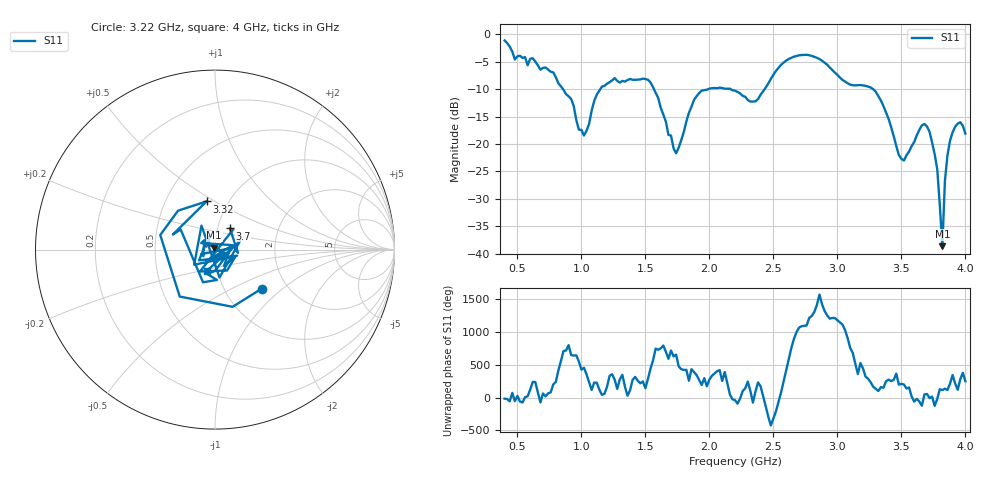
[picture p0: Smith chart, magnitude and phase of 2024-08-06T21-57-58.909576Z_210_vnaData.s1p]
!Created with skrf (http://scikit-rf.org).
# Hz S RI R 50.0
!freq ReS11 ImS11
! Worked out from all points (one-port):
!   181 points, 400 MHz to 4 GHz, reference 50 ohm
!   lowest |S11| = -38.6 dB at 3.82 GHz (marker M1), VSWR 1.02, Z = 49.5 + j1.06 ohm
!   |S11| at or under -10 dB: 856.2 MHz to 1.147 GHz (291.1 MHz wide, 29.1 % of centre); 1.567 GHz to 1.991 GHz (423.8 MHz wide, 23.8 % of centre); 3.279 GHz to end of sweep (the widest 3 of 4)
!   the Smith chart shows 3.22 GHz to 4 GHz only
!   S11 on the Smith chart (normalised r, x): 3.22 GHz: 1.49, -0.73; 3.32 GHz: 0.79, +0.46; 3.7 GHz: 1.15, +0.28; 4 GHz: 0.89, -0.21
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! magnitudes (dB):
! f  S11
! 400 MHz  -1.1
! 480 MHz  -4.6
! 620 MHz  -4.4
! 860 MHz  -10.1
! 1.02 GHz  -18.5
! 1.16 GHz  -9.5
! 1.3 GHz  -8.8
! 1.54 GHz  -8.8
! 1.72 GHz  -20.8
! 1.76 GHz  -20.7
! 1.92 GHz  -10.7
! 2.2 GHz  -10.3
! 2.36 GHz  -12.2
! 2.66 GHz  -4.1
! 2.86 GHz  -4.5
! 3.1 GHz  -9.2
! 3.22 GHz  -9.4
! 3.32 GHz  -11.3
! 3.48 GHz  -22.0
! 3.56 GHz  -21.4
! 3.66 GHz  -16.6
! 3.7 GHz  -16.8
! 3.78 GHz  -24.6
! 3.82 GHz  -38.6
! 3.84 GHz  -26.7
! 3.88 GHz  -19.4
! 3.96 GHz  -16.0
! 4 GHz  -18.1
